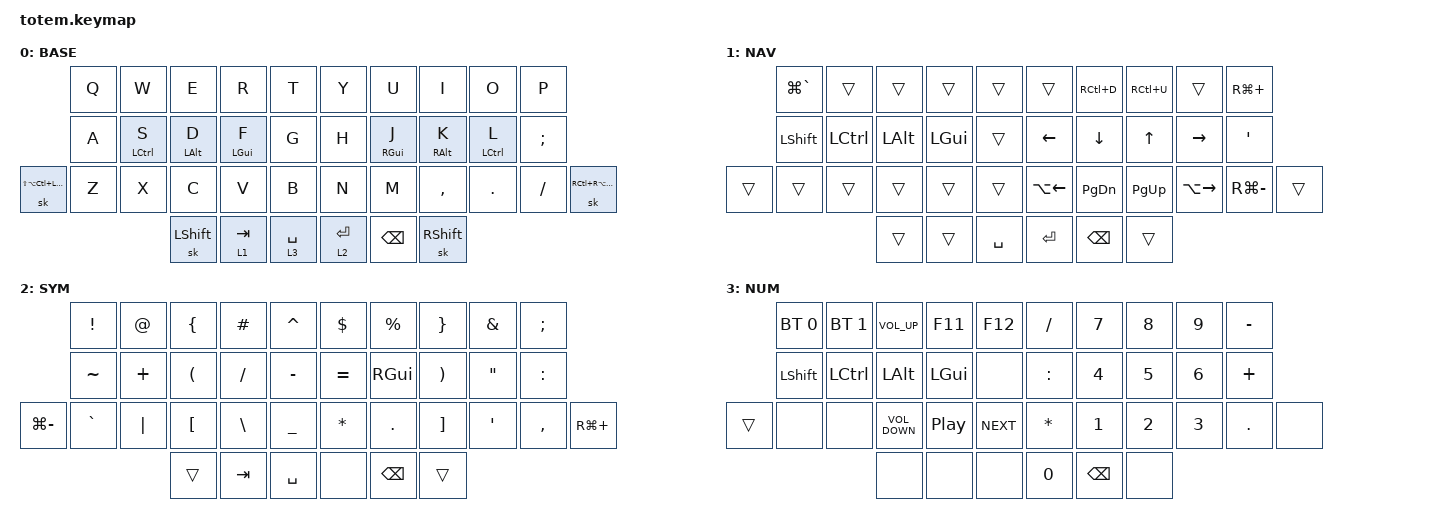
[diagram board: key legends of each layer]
//
//                                                        ▀▀▀▀▀     ▀▀▀▀▀          ▀▀█▀▀
//                                                        ▄▀▀▀▄  ▄  ▄▀▀▀▄  ▄  ▄▀▀▀▄  █  ▄▀▀▀▄
//                                                        █   █  █  █   █  █  █   █  █  █   █
//                                                         ▀▀▀   █   ▀▀▀   █   ▀▀▀   ▀   ▀▀▀
//                                                               █      ▄▄▄█▄▄▄    █   █  
//                                                               ▀      █  █  █     █▄█
//                                                             ▀▀▀▀▀    █  █  █      ▀
//                                                                      ▀  ▀  ▀
//
// ▄▄▄▄▄▄▄▄▄▄▄▄▄▄▄▄▄▄▄▄▄▄▄▄▄▄▄▄▄▄▄▄▄▄▄▄▄▄▄▄▄▄▄▄▄▄▄▄▄▄▄▄▄▄▄▄▄▄▄▄▄▄▄▄▄▄▄▄▄▄▄▄▄▄▄▄▄▄▄▄▄▄▄▄▄▄▄▄▄▄▄▄▄▄▄▄▄▄▄▄▄▄▄▄▄▄▄▄▄▄▄▄▄▄▄▄▄▄▄▄▄▄▄▄▄▄▄▄▄▄▄▄▄▄▄▄▄▄▄▄▄▄▄▄▄▄▄▄▄

#include <behaviors.dtsi>
#include <dt-bindings/zmk/bt.h>
#include <dt-bindings/zmk/keys.h>

#define BASE 0
#define NAV  1
#define SYM  2
#define ADJ  3
#define TVP1 4
#define TVP2 5

&mt {
    quick-tap-ms = <100>;
    flavor = "tap-preferred";
    tapping-term-ms = <170>;
};

&caps_word { continue-list = <UNDERSCORE BACKSPACE DELETE MINUS>; };

&sk {
    /delete-property/ ignore-modifiers;

    quick-release;
};

/ {
    combos {
        compatible = "zmk,combos";

        combo_esc {
            timeout-ms = <80>;
            key-positions = <34 33>;
            bindings = <&kp ESC>;
        };

        delete {
            bindings = <&kp DELETE>;
            key-positions = <35 36>;
            timeout-ms = <100>;
        };

        caps_word {
            bindings = <&caps_word>;
            key-positions = <32 37>;
            timeout-ms = <200>;
        };

        bt_clear_all {
            bindings = <&bt BT_CLR_ALL>;
            key-positions = <32 33 34 35 37 36>;
            timeout-ms = <400>;
        };
    };

    behaviors {
        hml: homewrow_mods_left {
            compatible = "zmk,behavior-hold-tap";
            label = "HOMEROW_MODS_LEFT_HAND";
            bindings = <&kp>, <&kp>;

            #binding-cells = <2>;
            tapping-term-ms = <230>;
            hold-trigger-key-positions = <5 6 7 8 9 15 16 17 18 19 26 27 28 29 30 31 36 37 35 32 33 34>;
            flavor = "balanced";
            quick-tap-ms = <175>;
            require-prior-idle-ms = <150>;
            hold-trigger-on-release;
        };

        hmr: homewrow_mods_right {
            compatible = "zmk,behavior-hold-tap";
            label = "HOMEROW_MODS_RIGHT_HAND";
            bindings = <&kp>, <&kp>;

            #binding-cells = <2>;
            tapping-term-ms = <230>;
            hold-trigger-key-positions = <0 1 3 4 10 11 12 13 14 20 21 22 23 24 25 32 33 2 34 35 36 37>;
            flavor = "balanced";
            quick-tap-ms = <175>;
            require-prior-idle-ms = <150>;
            hold-trigger-on-release;
        };

        shortmt: shortmt {
            compatible = "zmk,behavior-hold-tap";
            label = "SHORTMT";
            bindings = <&kp>, <&kp>;

            #binding-cells = <2>;
            tapping-term-ms = <140>;
            flavor = "balanced";
            quick-tap-ms = <100>;
        };

        shortlt: shortlt {
            compatible = "zmk,behavior-hold-tap";
            label = "SHORTLT";
            bindings = <&mo>, <&kp>;

            #binding-cells = <2>;
            tapping-term-ms = <140>;
            quick-tap-ms = <100>;
            flavor = "tap-preferred";
        };
    };

    keymap {
        compatible = "zmk,keymap";

        // ▄▄▄▄▄▄▄▄▄▄▄▄▄▄▄▄▄▄▄▄▄▄▄▄▄▄▄▄▄▄▄▄▄▄▄▄▄▄▄▄▄▄▄▄▄▄▄▄▄▄▄▄▄▄▄▄▄▄▄▄▄▄▄▄▄▄▄▄▄▄▄▄▄▄▄▄▄▄▄▄▄▄▄▄▄▄▄▄▄▄▄▄▄▄▄▄▄▄▄▄▄▄▄▄▄▄▄▄▄▄▄▄▄▄▄▄▄▄▄▄▄▄▄▄▄▄▄▄▄▄▄▄▄▄▄▄▄▄▄▄▄▄▄▄▄▄▄▄▄

        base_layer {
            // ┏━━━━━━━━━━━━━━━━━━━━━━━━━━━━━━━━━━━━━━━┓

            label = "BASE";

            // ┗━━━━━━━━━━━━━━━━━━━━━━━━━━━━━━━━━━━━━━━┛
            //             ┏━━━━━━━━━━━┳━━━━━━━━━━━┳━━━━━━━━━━━┳━━━━━━━━━━━┳━━━━━━━━━━━┓   ┏━━━━━━━━━━━┳━━━━━━━━━━━┳━━━━━━━━━━━┳━━━━━━━━━━━┳━━━━━━━━━━━┓
            //             ┃     Q     ┃     W     ┃     F     ┃     P     ┃     G     ┃   ┃     J     ┃     L     ┃     U     ┃     Y     ┃     ;     ┃
            //             ┣━━━━━━━━━━━╋━━━━━━━━━━━╋━━━━━━━━━━━╋━━━━━━━━━━━╋━━━━━━━━━━━┫   ┣━━━━━━━━━━━╋━━━━━━━━━━━╋━━━━━━━━━━━╋━━━━━━━━━━━╋━━━━━━━━━━━┫
            //             ┃     A     ┃     R     ┃     S     ┃     T     ┃     D     ┃   ┃     H     ┃     N     ┃     E     ┃     I     ┃     O     ┃
            // ┏━━━━━━━━━━━╋━━━━━━━━━━━╋━━━━━━━━━━━╋━━━━━━━━━━━╋━━━━━━━━━━━╋━━━━━━━━━━━┫   ┣━━━━━━━━━━━╋━━━━━━━━━━━╋━━━━━━━━━━━╋━━━━━━━━━━━╋━━━━━━━━━━━╋━━━━━━━━━━━┓
            // ┃     Q     ┃     Z     ┃     X     ┃     C     ┃     V     ┃     B     ┃   ┃     K     ┃     M     ┃     ,     ┃     .     ┃     /     ┃     \     ┃
            // ┗━━━━━━━━━━━┻━━━━━━━━━━━┻━━━━━━━━━━━╋━━━━━━━━━━━╋━━━━━━━━━━━╋━━━━━━━━━━━┫   ┣━━━━━━━━━━━╋━━━━━━━━━━━╋━━━━━━━━━━━╋━━━━━━━━━━━┻━━━━━━━━━━━┻━━━━━━━━━━━┛
            //                                     ┃    DEL    ┃    TAB    ┃    SPC    ┃   ┃   ENTER   ┃           ┃   BSPC    ┃
            //                                     ┗━━━━━━━━━━━┻━━━━━━━━━━━┻━━━━━━━━━━━┛   ┗━━━━━━━━━━━┻━━━━━━━━━━━┻━━━━━━━━━━━┛

            bindings = <
                          &kp Q  &kp W         &kp E            &kp R            &kp T          &kp Y             &kp U             &kp I            &kp O                &kp P
                          &kp A  &hml LCTRL S  &hml LEFT_ALT D  &hml LEFT_GUI F  &kp G          &kp H             &hmr RIGHT_GUI J  &hmr RALT K      &hmr LEFT_CONTROL L  &kp SEMICOLON
&sk LS(LA(LC(LEFT_GUI)))  &kp Z  &kp X         &kp C            &kp V            &kp B          &kp N             &kp M             &kp COMMA        &kp DOT              &kp FSLH       &sk RC(RA(RS(RIGHT_GUI)))
                                               &sk LEFT_SHIFT   &shortlt 1 TAB   &lt 3 SPACE    &shortlt 2 ENTER  &kp BACKSPACE     &sk RIGHT_SHIFT
            >;
        };

        nav_layer {
            // ┏━━━━━━━━━━━━━━━━━━━━━━━━━━━━━━━━━━━━━━━┓

            label = "NAV";

            // ┗━━━━━━━━━━━━━━━━━━━━━━━━━━━━━━━━━━━━━━━┛
            //             ┏━━━━━━━━━━━┳━━━━━━━━━━━┳━━━━━━━━━━━┳━━━━━━━━━━━┳━━━━━━━━━━━┓   ┏━━━━━━━━━━━┳━━━━━━━━━━━┳━━━━━━━━━━━┳━━━━━━━━━━━┳━━━━━━━━━━━┓
            //             ┃   RESET   ┃ BT CLEAR  ┃  OUT TOG  ┃           ┃           ┃   ┃           ┃    F7     ┃    F8     ┃    F9     ┃    F12    ┃
            //             ┣━━━━━━━━━━━╋━━━━━━━━━━━╋━━━━━━━━━━━╋━━━━━━━━━━━╋━━━━━━━━━━━┫   ┣━━━━━━━━━━━╋━━━━━━━━━━━╋━━━━━━━━━━━╋━━━━━━━━━━━╋━━━━━━━━━━━┫
            //             ┃ BOOTLOAD  ┃ BT NEXT   ┃           ┃           ┃           ┃   ┃           ┃    F4     ┃    F5     ┃    F6     ┃    F11    ┃
            // ┏━━━━━━━━━━━╋━━━━━━━━━━━╋━━━━━━━━━━━╋━━━━━━━━━━━╋━━━━━━━━━━━╋━━━━━━━━━━━┫   ┣━━━━━━━━━━━╋━━━━━━━━━━━╋━━━━━━━━━━━╋━━━━━━━━━━━╋━━━━━━━━━━━╋━━━━━━━━━━━┓
            // ┃           ┃           ┃ BT PREV   ┃           ┃           ┃           ┃   ┃           ┃    F1     ┃    F2     ┃    F3     ┃    F10    ┃           ┃
            // ┗━━━━━━━━━━━┻━━━━━━━━━━━┻━━━━━━━━━━━╋━━━━━━━━━━━╋━━━━━━━━━━━╋━━━━━━━━━━━┫   ┣━━━━━━━━━━━╋━━━━━━━━━━━╋━━━━━━━━━━━╋━━━━━━━━━━━┻━━━━━━━━━━━┻━━━━━━━━━━━┛
            //                                     ┃           ┃           ┃           ┃   ┃           ┃           ┃           ┃
            //                                     ┗━━━━━━━━━━━┻━━━━━━━━━━━┻━━━━━━━━━━━┛   ┗━━━━━━━━━━━┻━━━━━━━━━━━┻━━━━━━━━━━━┛

            bindings = <
        &kp LG(GRAVE)   &trans     &trans        &trans    &trans       &trans              &kp RC(D)       &kp RC(U)     &trans               &kp RG(PLUS)
        &kp LEFT_SHIFT  &kp LCTRL  &kp LEFT_ALT  &kp LGUI  &trans       &kp LEFT_ARROW      &kp DOWN_ARROW  &kp UP_ARROW  &kp RIGHT_ARROW      &kp SINGLE_QUOTE
&trans  &trans          &trans     &trans        &trans    &trans       &kp LA(LEFT_ARROW)  &kp PAGE_DOWN   &kp PAGE_UP   &kp LA(RIGHT_ARROW)  &kp RG(MINUS)     &trans
                                   &trans        &trans    &kp SPACE    &kp ENTER           &kp BACKSPACE   &trans
            >;
        };

        sym_layer {
            // ┏━━━━━━━━━━━━━━━━━━━━━━━━━━━━━━━━━━━━━━━┓

            label = "SYM";

            // ┗━━━━━━━━━━━━━━━━━━━━━━━━━━━━━━━━━━━━━━━┛
            //             ┏━━━━━━━━━━━┳━━━━━━━━━━━┳━━━━━━━━━━━┳━━━━━━━━━━━┳━━━━━━━━━━━┓   ┏━━━━━━━━━━━┳━━━━━━━━━━━┳━━━━━━━━━━━┳━━━━━━━━━━━┳━━━━━━━━━━━┓
            //             ┃     !     ┃     @     ┃     #     ┃     $     ┃     %     ┃   ┃     ˆ     ┃     &     ┃     Ü     ┃     '     ┃     "     ┃
            //             ┣━━━━━━━━━━━╋━━━━━━━━━━━╋━━━━━━━━━━━╋━━━━━━━━━━━╋━━━━━━━━━━━┫   ┣━━━━━━━━━━━╋━━━━━━━━━━━╋━━━━━━━━━━━╋━━━━━━━━━━━╋━━━━━━━━━━━┫
            //             ┃     Ä     ┃           ┃    SZ     ┃           ┃           ┃   ┃   MUTE    ┃   YEN     ┃   EURO    ┃  POUND    ┃     Ö     ┃
            // ┏━━━━━━━━━━━╋━━━━━━━━━━━╋━━━━━━━━━━━╋━━━━━━━━━━━╋━━━━━━━━━━━╋━━━━━━━━━━━┫   ┣━━━━━━━━━━━╋━━━━━━━━━━━╋━━━━━━━━━━━╋━━━━━━━━━━━╋━━━━━━━━━━━╋━━━━━━━━━━━┓
            // ┃           ┃  EMAIL1   ┃  EMAIL2   ┃           ┃           ┃           ┃   ┃   VOL-    ┃   VOL+    ┃   LAST    ┃   NEXT    ┃     \     ┃           ┃
            // ┗━━━━━━━━━━━┻━━━━━━━━━━━┻━━━━━━━━━━━╋━━━━━━━━━━━╋━━━━━━━━━━━╋━━━━━━━━━━━┫   ┣━━━━━━━━━━━╋━━━━━━━━━━━╋━━━━━━━━━━━╋━━━━━━━━━━━┻━━━━━━━━━━━┻━━━━━━━━━━━┛
            //                                     ┃           ┃    GIF    ┃    ADJ    ┃   ┃           ┃           ┃           ┃
            //                                     ┗━━━━━━━━━━━┻━━━━━━━━━━━┻━━━━━━━━━━━┛   ┗━━━━━━━━━━━┻━━━━━━━━━━━┻━━━━━━━━━━━┛

            bindings = <
               &kp EXCL   &kp AT    &kp LEFT_BRACE        &kp HASH       &kp CARET         &kp DOLLAR    &kp PERCENT    &kp RIGHT_BRACE        &kp AMPERSAND      &kp SEMICOLON
               &kp TILDE  &kp PLUS  &kp LEFT_PARENTHESIS  &kp SLASH      &kp MINUS         &kp EQUAL     &kp RGUI       &kp RIGHT_PARENTHESIS  &kp DOUBLE_QUOTES  &kp COLON
&kp LG(MINUS)  &kp GRAVE  &kp PIPE  &kp LEFT_BRACKET      &kp BACKSLASH  &kp UNDERSCORE    &kp ASTERISK  &kp DOT        &kp RIGHT_BRACKET      &kp SINGLE_QUOTE   &kp COMMA      &kp RG(PLUS)
                                    &trans                &kp TAB        &kp SPACE         &none         &kp BACKSPACE  &trans
            >;
        };

        num_layer {
            bindings = <
        &bt BT_SEL 0    &bt BT_SEL 1  &kp C_VOLUME_UP    &kp F11           &kp F12       &kp SLASH     &kp N7         &kp N8        &kp N9        &kp MINUS
        &kp LEFT_SHIFT  &kp LCTRL     &kp LEFT_ALT       &kp LEFT_GUI      &none         &kp COLON     &kp NUMBER_4   &kp N5        &kp NUMBER_6  &kp PLUS
&trans  &none           &none         &kp C_VOLUME_DOWN  &kp C_PLAY_PAUSE  &kp C_NEXT    &kp ASTERISK  &kp NUMBER_1   &kp NUMBER_2  &kp NUMBER_3  &kp PERIOD  &none
                                      &none              &none             &none         &kp N0        &kp BACKSPACE  &none
            >;

            label = "NUM";
        };
    };
};
